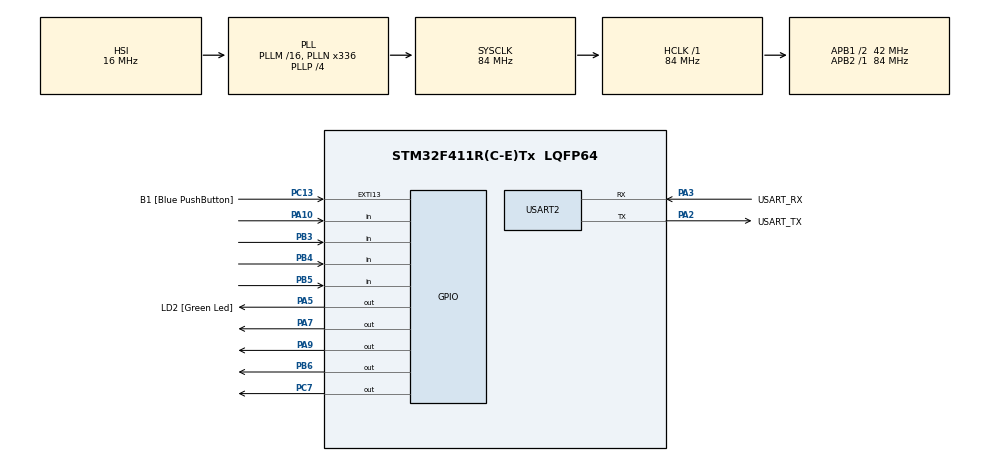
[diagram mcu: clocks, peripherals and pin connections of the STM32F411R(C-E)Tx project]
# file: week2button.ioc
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Mcu.Family=STM32F4
Mcu.Name=STM32F411R(C-E)Tx
Mcu.Package=LQFP64
NVIC.PriorityGroup=NVIC_PRIORITYGROUP_0
PA10.GPIO_PuPd=GPIO_PULLUP
PA10.Signal=GPIO_Input
PA13.GPIO_Label=TMS
PA13.Mode=Serial_Wire
PA13.Signal=SYS_JTMS-SWDIO
PA14.GPIO_Label=TCK
PA14.Mode=Serial_Wire
PA14.Signal=SYS_JTCK-SWCLK
PA2.GPIO_Label=USART_TX
PA2.Mode=Asynchronous
PA2.Signal=USART2_TX
PA3.GPIO_Label=USART_RX
PA3.Mode=Asynchronous
PA3.Signal=USART2_RX
PA5.GPIO_Label=LD2 [Green Led]
PA5.Signal=GPIO_Output
PA7.GPIO_ModeDefaultOutputPP=GPIO_MODE_OUTPUT_OD
PA7.GPIO_PuPd=GPIO_NOPULL
PA7.PinState=GPIO_PIN_SET
PA7.Signal=GPIO_Output
PA9.GPIO_ModeDefaultOutputPP=GPIO_MODE_OUTPUT_OD
PA9.GPIO_PuPd=GPIO_NOPULL
PA9.PinState=GPIO_PIN_SET
PA9.Signal=GPIO_Output
PB3.GPIO_PuPd=GPIO_PULLUP
PB3.Signal=GPIO_Input
PB4.GPIO_PuPd=GPIO_PULLUP
PB4.Signal=GPIO_Input
PB5.GPIO_PuPd=GPIO_PULLUP
PB5.Signal=GPIO_Input
PB6.GPIO_ModeDefaultOutputPP=GPIO_MODE_OUTPUT_OD
PB6.PinState=GPIO_PIN_SET
PB6.Signal=GPIO_Output
PC13-ANTI_TAMP.GPIO_Label=B1 [Blue PushButton]
PC13-ANTI_TAMP.GPIO_ModeDefaultEXTI=GPIO_MODE_IT_FALLING
PC13-ANTI_TAMP.Signal=GPXTI13
PC14-OSC32_IN.Mode=LSE-External-Oscillator
PC14-OSC32_IN.Signal=RCC_OSC32_IN
PC15-OSC32_OUT.Mode=LSE-External-Oscillator
PC15-OSC32_OUT.Signal=RCC_OSC32_OUT
PC7.GPIO_ModeDefaultOutputPP=GPIO_MODE_OUTPUT_OD
PC7.PinState=GPIO_PIN_SET
PC7.Signal=GPIO_Output
PH0\ -\ OSC_IN.Mode=HSE-External-Clock-Source
PH0\ -\ OSC_IN.Signal=RCC_OSC_IN
PH1\ -\ OSC_OUT.Mode=HSE-External-Clock-Source
PH1\ -\ OSC_OUT.Signal=RCC_OSC_OUT
ProjectManager.HeapSize=0x200
ProjectManager.StackSize=0x400
ProjectManager.TargetToolchain=STM32CubeIDE
RCC.48MHZClocksFreq_Value=84000000
RCC.AHBFreq_Value=84000000
RCC.APB1CLKDivider=RCC_HCLK_DIV2
RCC.APB1Freq_Value=42000000
RCC.APB1TimFreq_Value=84000000
RCC.APB2Freq_Value=84000000
RCC.APB2TimFreq_Value=84000000
RCC.CortexFreq_Value=84000000
RCC.FLatency-AdvancedSettings=FLASH_LATENCY_2
RCC.HCLKFreq_Value=84000000
RCC.HSE_VALUE=8000000
RCC.HSI_VALUE=16000000
RCC.PLLN=336
RCC.PLLP=RCC_PLLP_DIV4
RCC.SYSCLKFreq_VALUE=84000000
RCC.SYSCLKSource=RCC_SYSCLKSOURCE_PLLCLK
RCC.VCOOutputFreq_Value=336000000
USART2.VirtualMode=VM_ASYNC
board=NUCLEO-F411RE

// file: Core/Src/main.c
/* USER CODE BEGIN Header */
/**
  ******************************************************************************
  * @file           : main.c
  * @brief          : Main program body
  ******************************************************************************
  * @attention
  *
  * <h2><center>&copy; Copyright (c) 2021 STMicroelectronics.
  * All rights reserved.</center></h2>
  *
  * This software component is licensed by ST under BSD 3-Clause license,
  * the "License"; You may not use this file except in compliance with the
  * License. You may obtain a copy of the License at:
  *                        opensource.org/licenses/BSD-3-Clause
  *
  ******************************************************************************
  */
/* USER CODE END Header */
#include "main.h"

UART_HandleTypeDef huart2;

/* USER CODE BEGIN PV */
uint32_t ButtonMatrixTimestamp = 0;
uint16_t ButtonMatrixState[2] ;
uint32_t password[32] = {} ;
uint32_t thispassword[32] = {} ;
uint8_t num=0;
uint8_t state=1 ;
/* USER CODE END PV */

void SystemClock_Config(void);
static void MX_GPIO_Init(void);
static void MX_USART2_UART_Init(void);
/* USER CODE BEGIN PFP */
void ButtonMatrixUpdate(void);
/* USER CODE END PFP */

int main(void)
{

  /* MCU Configuration--------------------------------------------------------*/

  /* Reset of all peripherals, Initializes the Flash interface and the Systick. */
  HAL_Init();

  /* Configure the system clock */
  SystemClock_Config();

  /* Initialize all configured peripherals */
  MX_GPIO_Init();
  MX_USART2_UART_Init();
  /* USER CODE BEGIN 2 */

password[0] = 6 ;
password[1] = 2 ;
password[2] = 3 ;
password[3] =4  ;
  password[4] = 0 ;
  password[5] = 5 ;
  password[6] = 0 ;
  password[7] =  0;
 password[8] =  0;
  password[9] =  3;
  password[10] =  6;
  /* USER CODE END 2 */

  /* Infinite loop */
  /* USER CODE BEGIN WHILE */
  while (1)
  { if (num>=32)
  {
	  num=0;
  }
	  ButtonMatrixUpdate();
	  switch (state)
	  { case 0 :
		  switch (ButtonMatrixState[0])
		  {
		  case 0:
			  switch (ButtonMatrixState[1])
			  {
			  case 1 :
				  ButtonMatrixState[1]=0;
				  password[num]=7 ;
				  num+=1;
				  break;
			  case 2 :
				  ButtonMatrixState[1]=0;
				  password[num]=8 ;
				  num+=1;
				  break;
			  case 4 :
				  ButtonMatrixState[1]=0;
				  password[num]=9 ;
				  num+=1;
				  break;
			  case 8 :
				  ButtonMatrixState[1]=0;
				  int i;
				  for (i = 0; i < 32; ++i)
				  {
				    password[i] = 0;
				  }
				  num=0;
				  break;
			  case 16 :
				  ButtonMatrixState[1]=0;
				  password[num]=4 ;
				  num+=1;
				  break;
			  case 32 :
				  ButtonMatrixState[1]=0;
				  password[num]=5 ;
				  num+=1;
				  break;
			  case 64 :
				  ButtonMatrixState[1]=0;
				  password[num]=6 ;
				  num+=1;
				  break;
			  case 128 :
				  ButtonMatrixState[1]=0;
				  num-=1;
				  password[num]=0;
				  break ;
			  case 256 :
				  ButtonMatrixState[1]=0;
				  password[num]=1 ;
				  num+=1;
				  break;
			  case 512 :
				  ButtonMatrixState[1]=0;
				  password[num]=2 ;
				  num+=1;
				  break;
			  case 1024 :
				  ButtonMatrixState[1]=0;
				  password[num]=3 ;
				  num+=1;
				  break;
			  case 2048 :
				  ButtonMatrixState[1]=0;
				  break;
			  case 4096 :
				  ButtonMatrixState[1]=0;
				  password[num]=0 ;
				  num+=1;
				  break;
			  case 8192 :
				  ButtonMatrixState[1]=0;
				  break;
			  case 16384 :
				  ButtonMatrixState[1]=0;
				  break;
			  case 32768 :
				  ButtonMatrixState[1]=0;
				  state=state+1;
				  num=0;
				  break;

			  }
		  }
		case 1 :
			switch (ButtonMatrixState[0])
					  {
					  case 0:
						  switch (ButtonMatrixState[1])
						  {
						  case 1 :
							  ButtonMatrixState[1]=0;
							  thispassword[num]=7 ;
							  num+=1;
							  break;
						  case 2 :
							  ButtonMatrixState[1]=0;
							  thispassword[num]=8 ;
							  num+=1;
							  break;
						  case 4 :
							  ButtonMatrixState[1]=0;
							  thispassword[num]=9 ;
							  num+=1;
							  break;
						  case 8 :
							  ButtonMatrixState[1]=0;
							  int i;
							  for (i = 0; i < 32; ++i)
							  {
							    thispassword[i] = 0;
							  }
							  num=0;
							  break;
						  case 16 :
							  ButtonMatrixState[1]=0;
							  thispassword[num]=4 ;
							  num+=1;
							  break;
						  case 32 :
							  ButtonMatrixState[1]=0;
							  thispassword[num]=5 ;
							  num+=1;
							  break;
						  case 64 :
							  ButtonMatrixState[1]=0;
							  thispassword[num]=6 ;
							  num+=1;
							  break;
						  case 128 :
							  ButtonMatrixState[1]=0;
							  num-=1;
							  thispassword[num]=0;
							  break ;
						  case 256 :
							  ButtonMatrixState[1]=0;
							  thispassword[num]=1 ;
							  num+=1;
							  break;
						  case 512 :
							  ButtonMatrixState[1]=0;
							  thispassword[num]=2 ;
							  num+=1;
							  break;
						  case 1024 :
							  ButtonMatrixState[1]=0;
							  thispassword[num]=3 ;
							  num+=1;
							  break;
						  case 2048 :
							  ButtonMatrixState[1]=0;
							  break;
						  case 4096 :
							  ButtonMatrixState[1]=0;
							  thispassword[num]=0 ;
							  num+=1;
							  break;
						  case 8192 :
							  ButtonMatrixState[1]=0;
							  break;
						  case 16384 :
							  ButtonMatrixState[1]=0;
							  break;
						  case 32768 :
							  ButtonMatrixState[1]=0;
//							  if (thispassword==password){
//							  state=state-1;
//							  num=0;
//							  }
							  int o;
							  int x=0;
							  for (o = 0; o < 32; ++o)
							  {
							  if(password[o] == thispassword[o])
							  {
								  x=x+1;
							  }
							  }

							  if (x==32)
							  {
								  state=state-1;
							  num=0;}
							  x=0;
							  break;

						  }
					  }
	  }
	  if (state ==0 )
	  {
		  HAL_GPIO_WritePin(GPIOA, GPIO_PIN_5, 0);
	  }
	  else
	  {
		  HAL_GPIO_WritePin(GPIOA, GPIO_PIN_5, 1);
	  }

    /* USER CODE END WHILE */

  }
}

void SystemClock_Config(void)
{
  RCC_OscInitTypeDef RCC_OscInitStruct = {0};
  RCC_ClkInitTypeDef RCC_ClkInitStruct = {0};

  /** Configure the main internal regulator output voltage
  */
  __HAL_RCC_PWR_CLK_ENABLE();
  __HAL_PWR_VOLTAGESCALING_CONFIG(PWR_REGULATOR_VOLTAGE_SCALE1);
  /** Initializes the RCC Oscillators according to the specified parameters
  * in the RCC_OscInitTypeDef structure.
  */
  RCC_OscInitStruct.OscillatorType = RCC_OSCILLATORTYPE_HSI;
  RCC_OscInitStruct.HSIState = RCC_HSI_ON;
  RCC_OscInitStruct.HSICalibrationValue = RCC_HSICALIBRATION_DEFAULT;
  RCC_OscInitStruct.PLL.PLLState = RCC_PLL_ON;
  RCC_OscInitStruct.PLL.PLLSource = RCC_PLLSOURCE_HSI;
  RCC_OscInitStruct.PLL.PLLM = 16;
  RCC_OscInitStruct.PLL.PLLN = 336;
  RCC_OscInitStruct.PLL.PLLP = RCC_PLLP_DIV4;
  RCC_OscInitStruct.PLL.PLLQ = 4;
  if (HAL_RCC_OscConfig(&RCC_OscInitStruct) != HAL_OK)
  {
    Error_Handler();
  }
  /** Initializes the CPU, AHB and APB buses clocks
  */
  RCC_ClkInitStruct.ClockType = RCC_CLOCKTYPE_HCLK|RCC_CLOCKTYPE_SYSCLK
                              |RCC_CLOCKTYPE_PCLK1|RCC_CLOCKTYPE_PCLK2;
  RCC_ClkInitStruct.SYSCLKSource = RCC_SYSCLKSOURCE_PLLCLK;
  RCC_ClkInitStruct.AHBCLKDivider = RCC_SYSCLK_DIV1;
  RCC_ClkInitStruct.APB1CLKDivider = RCC_HCLK_DIV2;
  RCC_ClkInitStruct.APB2CLKDivider = RCC_HCLK_DIV1;

  if (HAL_RCC_ClockConfig(&RCC_ClkInitStruct, FLASH_LATENCY_2) != HAL_OK)
  {
    Error_Handler();
  }
}

static void MX_USART2_UART_Init(void)
{

  huart2.Instance = USART2;
  huart2.Init.BaudRate = 115200;
  huart2.Init.WordLength = UART_WORDLENGTH_8B;
  huart2.Init.StopBits = UART_STOPBITS_1;
  huart2.Init.Parity = UART_PARITY_NONE;
  huart2.Init.Mode = UART_MODE_TX_RX;
  huart2.Init.HwFlowCtl = UART_HWCONTROL_NONE;
  huart2.Init.OverSampling = UART_OVERSAMPLING_16;
  if (HAL_UART_Init(&huart2) != HAL_OK)
  {
    Error_Handler();
  }

}

static void MX_GPIO_Init(void)
{
  GPIO_InitTypeDef GPIO_InitStruct = {0};

  /* GPIO Ports Clock Enable */
  __HAL_RCC_GPIOC_CLK_ENABLE();
  __HAL_RCC_GPIOH_CLK_ENABLE();
  __HAL_RCC_GPIOA_CLK_ENABLE();
  __HAL_RCC_GPIOB_CLK_ENABLE();

  /*Configure GPIO pin Output Level */
  HAL_GPIO_WritePin(LD2_GPIO_Port, LD2_Pin, GPIO_PIN_RESET);

  /*Configure GPIO pin Output Level */
  HAL_GPIO_WritePin(GPIOA, GPIO_PIN_7|GPIO_PIN_9, GPIO_PIN_SET);

  /*Configure GPIO pin Output Level */
  HAL_GPIO_WritePin(GPIOC, GPIO_PIN_7, GPIO_PIN_SET);

  /*Configure GPIO pin Output Level */
  HAL_GPIO_WritePin(GPIOB, GPIO_PIN_6, GPIO_PIN_SET);

  /*Configure GPIO pin : B1_Pin */
  GPIO_InitStruct.Pin = B1_Pin;
  GPIO_InitStruct.Mode = GPIO_MODE_IT_FALLING;
  GPIO_InitStruct.Pull = GPIO_NOPULL;
  HAL_GPIO_Init(B1_GPIO_Port, &GPIO_InitStruct);

  /*Configure GPIO pin : LD2_Pin */
  GPIO_InitStruct.Pin = LD2_Pin;
  GPIO_InitStruct.Mode = GPIO_MODE_OUTPUT_PP;
  GPIO_InitStruct.Pull = GPIO_NOPULL;
  GPIO_InitStruct.Speed = GPIO_SPEED_FREQ_LOW;
  HAL_GPIO_Init(LD2_GPIO_Port, &GPIO_InitStruct);

  /*Configure GPIO pins : PA7 PA9 */
  GPIO_InitStruct.Pin = GPIO_PIN_7|GPIO_PIN_9;
  GPIO_InitStruct.Mode = GPIO_MODE_OUTPUT_OD;
  GPIO_InitStruct.Pull = GPIO_NOPULL;
  GPIO_InitStruct.Speed = GPIO_SPEED_FREQ_LOW;
  HAL_GPIO_Init(GPIOA, &GPIO_InitStruct);

  /*Configure GPIO pin : PC7 */
  GPIO_InitStruct.Pin = GPIO_PIN_7;
  GPIO_InitStruct.Mode = GPIO_MODE_OUTPUT_OD;
  GPIO_InitStruct.Pull = GPIO_NOPULL;
  GPIO_InitStruct.Speed = GPIO_SPEED_FREQ_LOW;
  HAL_GPIO_Init(GPIOC, &GPIO_InitStruct);

  /*Configure GPIO pin : PA10 */
  GPIO_InitStruct.Pin = GPIO_PIN_10;
  GPIO_InitStruct.Mode = GPIO_MODE_INPUT;
  GPIO_InitStruct.Pull = GPIO_PULLUP;
  HAL_GPIO_Init(GPIOA, &GPIO_InitStruct);

  /*Configure GPIO pins : PB3 PB4 PB5 */
  GPIO_InitStruct.Pin = GPIO_PIN_3|GPIO_PIN_4|GPIO_PIN_5;
  GPIO_InitStruct.Mode = GPIO_MODE_INPUT;
  GPIO_InitStruct.Pull = GPIO_PULLUP;
  HAL_GPIO_Init(GPIOB, &GPIO_InitStruct);

  /*Configure GPIO pin : PB6 */
  GPIO_InitStruct.Pin = GPIO_PIN_6;
  GPIO_InitStruct.Mode = GPIO_MODE_OUTPUT_OD;
  GPIO_InitStruct.Pull = GPIO_NOPULL;
  GPIO_InitStruct.Speed = GPIO_SPEED_FREQ_LOW;
  HAL_GPIO_Init(GPIOB, &GPIO_InitStruct);

}

/* USER CODE BEGIN 4 */
GPIO_TypeDef* Buttonmatrixport[8] = {GPIOA,GPIOB,GPIOB,GPIOB,GPIOA,GPIOC,GPIOB,GPIOA};
uint16_t ButtonMatrixPin[8] = {GPIO_PIN_10,GPIO_PIN_3,GPIO_PIN_5,GPIO_PIN_4,GPIO_PIN_9,GPIO_PIN_7,GPIO_PIN_6,GPIO_PIN_7};
uint16_t ButtonMatrixRow = 0; // R
void ButtonMatrixUpdate()
{
 if(HAL_GetTick()-ButtonMatrixTimestamp>=50)
 {	ButtonMatrixState[1]=ButtonMatrixState[0];
	 ButtonMatrixTimestamp = HAL_GetTick();
	 int i;
	 for(i=0;i<4;++i)
		 {
			 GPIO_PinState PinState=HAL_GPIO_ReadPin(Buttonmatrixport[i], ButtonMatrixPin[i]);
			 if(PinState==GPIO_PIN_RESET) //button Press
				 {
					 ButtonMatrixState[0] |=(uint16_t)0x01<<(i+ButtonMatrixRow*4);
				 }
			 else
				 {
					 ButtonMatrixState[0] &=~((uint16_t)0x01<<(i+ButtonMatrixRow*4));
				 }

		 }
	 uint8_t NowOutputPin = ButtonMatrixRow +4;
	 // SetRn
	 HAL_GPIO_WritePin(Buttonmatrixport[NowOutputPin], ButtonMatrixPin[NowOutputPin], GPIO_PIN_SET);
	 // update newrow
	 ButtonMatrixRow=(ButtonMatrixRow+1)%4;
	 uint8_t NextOutputPin=ButtonMatrixRow +4;
	 // reset row+1
	 HAL_GPIO_WritePin(Buttonmatrixport[NextOutputPin], ButtonMatrixPin[NextOutputPin], GPIO_PIN_RESET);
 }
}
/* USER CODE END 4 */

void Error_Handler(void)
{
  __disable_irq();
  while (1)
  {
  }
}

/************************ (C) COPYRIGHT STMicroelectronics *****END OF FILE****/
